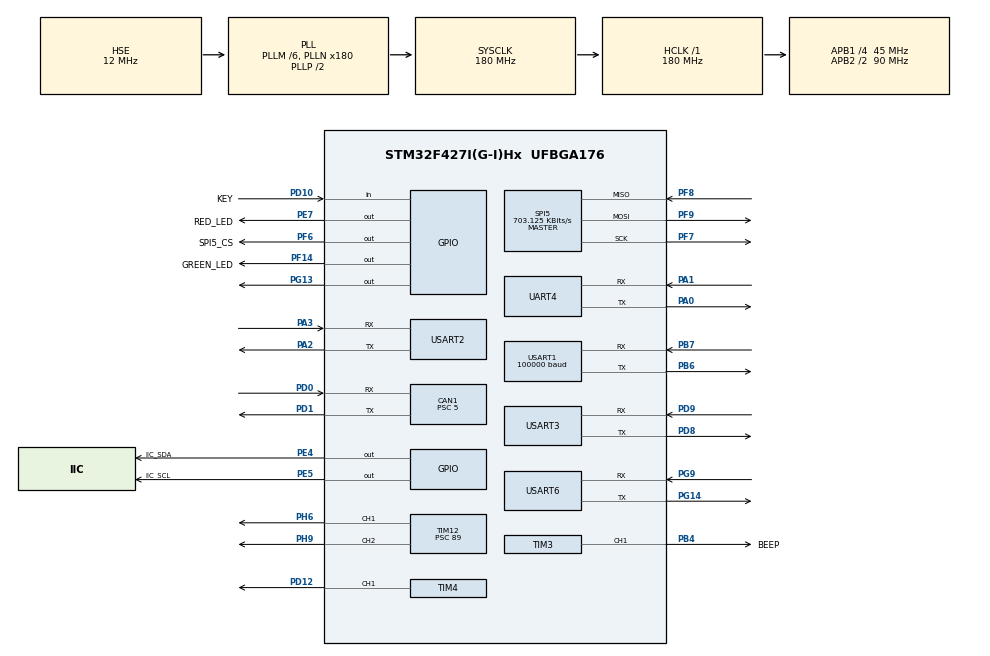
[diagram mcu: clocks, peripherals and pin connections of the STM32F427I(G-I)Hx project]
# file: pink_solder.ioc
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CAN1.ABOM=ENABLE
CAN1.BS1=CAN_BS1_3TQ
CAN1.BS2=CAN_BS2_5TQ
CAN1.CalculateTimeBit=1000
CAN1.CalculateTimeQuantum=111.11111111111111
CAN1.Prescaler=5
CAN1.RFLM=DISABLE
CAN1.TTCM=DISABLE
CAN1.TXFP=ENABLE
Dma.Request0=USART1_RX
Dma.Request1=USART3_RX
Dma.USART1_RX.0.Direction=DMA_PERIPH_TO_MEMORY
Dma.USART1_RX.0.FIFOMode=DMA_FIFOMODE_DISABLE
Dma.USART1_RX.0.Instance=DMA2_Stream2
Dma.USART1_RX.0.MemDataAlignment=DMA_MDATAALIGN_BYTE
Dma.USART1_RX.0.MemInc=DMA_MINC_ENABLE
Dma.USART1_RX.0.Mode=DMA_CIRCULAR
Dma.USART1_RX.0.PeriphDataAlignment=DMA_PDATAALIGN_BYTE
Dma.USART1_RX.0.PeriphInc=DMA_PINC_DISABLE
Dma.USART1_RX.0.Priority=DMA_PRIORITY_VERY_HIGH
Dma.USART3_RX.1.Direction=DMA_PERIPH_TO_MEMORY
Dma.USART3_RX.1.FIFOMode=DMA_FIFOMODE_DISABLE
Dma.USART3_RX.1.Instance=DMA1_Stream1
Dma.USART3_RX.1.MemDataAlignment=DMA_MDATAALIGN_BYTE
Dma.USART3_RX.1.MemInc=DMA_MINC_ENABLE
Dma.USART3_RX.1.Mode=DMA_CIRCULAR
Dma.USART3_RX.1.PeriphDataAlignment=DMA_PDATAALIGN_BYTE
Dma.USART3_RX.1.PeriphInc=DMA_PINC_DISABLE
Dma.USART3_RX.1.Priority=DMA_PRIORITY_HIGH
Mcu.Family=STM32F4
Mcu.Name=STM32F427I(G-I)Hx
Mcu.Package=UFBGA176
NVIC.CAN1_RX0_IRQn=true\:1\:0\:true\:false\:true\:true
NVIC.DMA1_Stream1_IRQn=true\:0\:0\:false\:false\:true\:false
NVIC.DMA2_Stream2_IRQn=true\:0\:0\:false\:false\:true\:false
NVIC.PriorityGroup=NVIC_PRIORITYGROUP_4
NVIC.TIM6_DAC_IRQn=true\:3\:0\:true\:false\:true\:true
NVIC.UART4_IRQn=true\:2\:0\:true\:false\:true\:true
NVIC.USART2_IRQn=true\:3\:0\:true\:false\:true\:true
NVIC.USART3_IRQn=true\:4\:0\:true\:false\:true\:true
NVIC.USART6_IRQn=true\:4\:0\:true\:true\:true\:1\:true
PA0/WKUP.Mode=Asynchronous
PA0/WKUP.Signal=UART4_TX
PA1.Mode=Asynchronous
PA1.Signal=UART4_RX
PA2.GPIO_PuPd=GPIO_PULLDOWN
PA2.Mode=Multiprocessor_communication
PA2.Signal=USART2_TX
PA3.GPIO_PuPd=GPIO_NOPULL
PA3.Mode=Multiprocessor_communication
PA3.Signal=USART2_RX
PB4.GPIO_Label=BEEP
PB4.GPIO_PuPd=GPIO_PULLUP
PB4.GPIO_Speed=GPIO_SPEED_FREQ_VERY_HIGH
PB4.Signal=S_TIM3_CH1
PB6.Mode=Multiprocessor_communication
PB6.Signal=USART1_TX
PB7.Mode=Multiprocessor_communication
PB7.Signal=USART1_RX
PD0.Mode=Master
PD0.Signal=CAN1_RX
PD1.Mode=Master
PD1.Signal=CAN1_TX
PD10.GPIO_Label=KEY
PD10.GPIO_PuPd=GPIO_PULLUP
PD10.Signal=GPIO_Input
PD12.Signal=S_TIM4_CH1
PD8.Mode=Asynchronous
PD8.Signal=USART3_TX
PD9.Mode=Asynchronous
PD9.Signal=USART3_RX
PE4.GPIO_Label=IIC_SDA
PE4.GPIO_ModeDefaultOutputPP=GPIO_MODE_OUTPUT_PP
PE4.GPIO_PuPd=GPIO_PULLUP
PE4.GPIO_Speed=GPIO_SPEED_FREQ_VERY_HIGH
PE4.PinState=GPIO_PIN_SET
PE4.Signal=GPIO_Output
PE5.GPIO_Label=IIC_SCL
PE5.GPIO_PuPd=GPIO_PULLUP
PE5.GPIO_Speed=GPIO_SPEED_FREQ_VERY_HIGH
PE5.PinState=GPIO_PIN_SET
PE5.Signal=GPIO_Output
PE7.GPIO_Label=RED_LED
PE7.GPIO_PuPd=GPIO_PULLUP
PE7.PinState=GPIO_PIN_SET
PE7.Signal=GPIO_Output
PF14.GPIO_Label=GREEN_LED
PF14.GPIO_PuPd=GPIO_PULLUP
PF14.PinState=GPIO_PIN_SET
PF14.Signal=GPIO_Output
PF6.GPIO_Label=SPI5_CS
PF6.GPIO_ModeDefaultOutputPP=GPIO_MODE_OUTPUT_PP
PF6.PinState=GPIO_PIN_RESET
PF6.Signal=GPIO_Output
PF7.Mode=Full_Duplex_Master
PF7.Signal=SPI5_SCK
PF8.Mode=Full_Duplex_Master
PF8.Signal=SPI5_MISO
PF9.Mode=Full_Duplex_Master
PF9.Signal=SPI5_MOSI
PG13.GPIO_PuPd=GPIO_NOPULL
PG13.Signal=GPIO_Output
PG14.Mode=Multiprocessor_communication
PG14.Signal=USART6_TX
PG9.Mode=Multiprocessor_communication
PG9.Signal=USART6_RX
PH0/OSC_IN.Mode=HSE-External-Oscillator
PH0/OSC_IN.Signal=RCC_OSC_IN
PH1/OSC_OUT.Mode=HSE-External-Oscillator
PH1/OSC_OUT.Signal=RCC_OSC_OUT
PH6.Signal=S_TIM12_CH1
PH9.Signal=S_TIM12_CH2
ProjectManager.HeapSize=0x200
ProjectManager.StackSize=0x400
ProjectManager.TargetToolchain=MDK-ARM V5
RCC.48MHZClocksFreq_Value=90000000
RCC.AHBFreq_Value=180000000
RCC.APB1CLKDivider=RCC_HCLK_DIV4
RCC.APB1Freq_Value=45000000
RCC.APB1TimFreq_Value=90000000
RCC.APB2CLKDivider=RCC_HCLK_DIV2
RCC.APB2Freq_Value=90000000
RCC.APB2TimFreq_Value=180000000
RCC.CortexFreq_Value=180000000
RCC.HCLKFreq_Value=180000000
RCC.HSE_VALUE=12000000
RCC.HSI_VALUE=16000000
RCC.LSE_VALUE=32768
RCC.PLLM=6
RCC.PLLN=180
RCC.PLLSourceVirtual=RCC_PLLSOURCE_HSE
RCC.SYSCLKFreq_VALUE=180000000
RCC.SYSCLKSource=RCC_SYSCLKSOURCE_PLLCLK
RCC.VCOOutputFreq_Value=360000000
SH.S_TIM12_CH1.0=TIM12_CH1,PWM Generation1 CH1
SH.S_TIM12_CH2.0=TIM12_CH2,PWM Generation2 CH2
SH.S_TIM3_CH1.0=TIM3_CH1,PWM Generation1 CH1
SH.S_TIM4_CH1.0=TIM4_CH1,PWM Generation1 CH1
SPI5.BaudRatePrescaler=SPI_BAUDRATEPRESCALER_128
SPI5.CalculateBaudRate=703.125 KBits/s
SPI5.Direction=SPI_DIRECTION_2LINES
SPI5.Mode=SPI_MODE_MASTER
SPI5.VirtualType=VM_MASTER
TIM12.Channel-PWM\ Generation1\ CH1=TIM_CHANNEL_1
TIM12.Channel-PWM\ Generation2\ CH2=TIM_CHANNEL_2
TIM12.Period=2500-1
TIM12.Prescaler=89
TIM12.Pulse-PWM\ Generation1\ CH1=1000
TIM12.Pulse-PWM\ Generation2\ CH2=1000
TIM3.Channel-PWM\ Generation1\ CH1=TIM_CHANNEL_1
TIM3.Period=1000
TIM3.Prescaler=179
TIM3.Pulse-PWM\ Generation1\ CH1=500
TIM4.Channel-PWM\ Generation1\ CH1=TIM_CHANNEL_1
TIM4.Period=2000-1
TIM4.Prescaler=89
TIM4.Pulse-PWM\ Generation1\ CH1=500
TIM6.Period=999
TIM6.Prescaler=89
UART4.VirtualMode=Asynchronous
USART1.BaudRate=100000
USART1.VirtualMode=VM_ASYNC
USART2.VirtualMode=VM_ASYNC
USART3.VirtualMode=VM_ASYNC
USART6.VirtualMode=VM_ASYNC
VP_TIM12_VS_ClockSourceINT.Mode=Internal
VP_TIM3_VS_ClockSourceINT.Mode=Internal
VP_TIM4_VS_ClockSourceINT.Mode=Internal
VP_TIM6_VS_ClockSourceINT.Mode=Enable_Timer
board=custom

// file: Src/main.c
/**
  ******************************************************************************
  * @file           : main.c
  * @brief          : Main program body
  ******************************************************************************
  ** This notice applies to any and all portions of this file
  * that are not between comment pairs USER CODE BEGIN and
  * USER CODE END. Other portions of this file, whether
  * inserted by the user or by software development tools
  * are owned by their respective copyright owners.
  *
  * COPYRIGHT(c) 2018 STMicroelectronics
  *
  * Redistribution and use in source and binary forms, with or without modification,
  * are permitted provided that the following conditions are met:
  *   1. Redistributions of source code must retain the above copyright notice,
  *      this list of conditions and the following disclaimer.
  *   2. Redistributions in binary form must reproduce the above copyright notice,
  *      this list of conditions and the following disclaimer in the documentation
  *      and/or other materials provided with the distribution.
  *   3. Neither the name of STMicroelectronics nor the names of its contributors
  *      may be used to endorse or promote products derived from this software
  *      without specific prior written permission.
  *
  * THIS SOFTWARE IS PROVIDED BY THE COPYRIGHT HOLDERS AND CONTRIBUTORS "AS IS"
  * AND ANY EXPRESS OR IMPLIED WARRANTIES, INCLUDING, BUT NOT LIMITED TO, THE
  * IMPLIED WARRANTIES OF MERCHANTABILITY AND FITNESS FOR A PARTICULAR PURPOSE ARE
  * DISCLAIMED. IN NO EVENT SHALL THE COPYRIGHT HOLDER OR CONTRIBUTORS BE LIABLE
  * FOR ANY DIRECT, INDIRECT, INCIDENTAL, SPECIAL, EXEMPLARY, OR CONSEQUENTIAL
  * DAMAGES (INCLUDING, BUT NOT LIMITED TO, PROCUREMENT OF SUBSTITUTE GOODS OR
  * SERVICES; LOSS OF USE, DATA, OR PROFITS; OR BUSINESS INTERRUPTION) HOWEVER
  * CAUSED AND ON ANY THEORY OF LIABILITY, WHETHER IN CONTRACT, STRICT LIABILITY,
  * OR TORT (INCLUDING NEGLIGENCE OR OTHERWISE) ARISING IN ANY WAY OUT OF THE USE
  * OF THIS SOFTWARE, EVEN IF ADVISED OF THE POSSIBILITY OF SUCH DAMAGE.
  *
  ******************************************************************************
  */
#include "main.h"
#include "stm32f4xx_hal.h"
#include "can.h"
#include "dma.h"
#include "spi.h"
#include "tim.h"
#include "usart.h"
#include "gpio.h"

/* USER CODE BEGIN Includes */
#include "control.h"
#include "math.h"
#include "delay.h"
/* USER CODE END Includes */

/* USER CODE BEGIN PV */
/* Private variables ---------------------------------------------------------*/

u8 i;
float a;
float output[6];

/* USER CODE END PV */

void SystemClock_Config(void);
static void MX_NVIC_Init(void);

/* USER CODE BEGIN PFP */
/* Private function prototypes -----------------------------------------------*/

/* USER CODE END PFP */

int main(void)
{

  /* MCU Configuration----------------------------------------------------------*/

  /* Reset of all peripherals, Initializes the Flash interface and the Systick. */
  HAL_Init();

  /* Configure the system clock */
  SystemClock_Config();

  /* USER CODE BEGIN SysInit */
	delay_init(180);
  /* USER CODE END SysInit */

  /* Initialize all configured peripherals */
  MX_GPIO_Init();
  MX_DMA_Init();
  MX_CAN1_Init();
  MX_TIM4_Init();
  MX_TIM6_Init();
  MX_TIM12_Init();
  MX_UART4_Init();
  MX_USART1_UART_Init();
  MX_USART6_UART_Init();
  MX_USART2_UART_Init();
  MX_TIM3_Init();
  MX_USART3_UART_Init();
  MX_SPI5_Init();

  /* Initialize interrupts */
  MX_NVIC_Init();
  /* USER CODE BEGIN 2 */
	MPU6050_Init();																//陀螺仪初始化
	MPU6050_GyroOffest();														//陀螺仪校准
	delay_ms(10);
	MPU6500_Init();
	IMU_Init();
	HAL_UART_Receive_DMA(&huart3,mpu6050.RxBuf,sizeof(mpu6050.RxBuf));			//MPU初始化完成后立刻开启DMA接收防止接收不完整数据
	HAL_UART_Receive_DMA(&huart1,teledata_rx,sizeof(teledata_rx));				//遥控器接收数据通过DMA中断存入teledata
	HAL_UART_Receive_IT(&huart4, &rxPID.pidReadBuf, 1);							//pid调节参数接收中断
//	HAL_UART_Receive_IT(&huart2, camera.Recieve,sizeof(camera.Recieve));		//开启视觉数据接收中断
//	HAL_UART_Receive_IT(&huart6, judge.Recieve,sizeof(judge.Recieve));			//开启裁判系统接收中断

	CAN1_FilterInit();
	HAL_TIM_Base_Start_IT(&htim6);
	MOTO_PIDInit();
	GREEN_LED = 0;

	//选择上位机PID调参对象
	rxPID.pidAdjust = &(cloudPitch.AnglePID);
  /* USER CODE END 2 */

  /* Infinite loop */
  while (1)
  {

  /* USER CODE BEGIN 3 */
		a += 0.1f;
		if(a > 3.14f)	a = -3.14f;
//		output[0] =mpu6050.Acc.Origin.x; //500 * sinf(a);
//		output[0] = angleKal;
//		output[2] = atan2(mpu6050.Acc.Origin.x,sensor.Acc.Origin.z)*180/3.1415926f;
//		output[0] = underpan[2].Speed;
//		output[1] = underpan[2].Angle;//4000 * sinf(a+1);
//		output[2] = underpan[0].CurrentOutput;
//		output[3] = underpan[0].Current ;
//		output[0] = mpu6050.Auto.GyroX;
//		output[1] = mpu6050.Auto.GyroY;//4000 * sinf(a+1);
//		output[2] = mpu6050.Auto.GyroZ;
//		output[0] = mpu6500.PitchK.Angle;
//		output[1] = mpu6500.RollK.Angle;//4000 * sinf(a+1);
//		output[2] = atan2(mpu6500.AccX,mpu6500.AccZ)*180/PI;
//		output[3] = mpu6500.GyroY;
		output[1] = cloudPitch.CurrentOutput;
		output[2] = cloudPitch.Angle;
		output[0] = mpu6050.Gyro.Origin.y;
		output[3] = cloudPitch.SetSpeed;
//		output[5] = cloudPitch.AnglePID.i*100;
		UART_SendDataToPC(output, sizeof(output));
//		MPU6050_GetData();
//		printf("%d    \r\n",mpu6050.Gyro.Origin.x);
		HAL_Delay(100);
//		delay_us(100000);
		//delay_ms(100);
		GREEN_LED = ~GREEN_LED;
//		prinf("%d   \r\n",cloudPitch.Angle);
  }
  /* USER CODE END 3 */

}

void SystemClock_Config(void)
{

  RCC_OscInitTypeDef RCC_OscInitStruct;
  RCC_ClkInitTypeDef RCC_ClkInitStruct;

    /**Configure the main internal regulator output voltage
    */
  __HAL_RCC_PWR_CLK_ENABLE();

  __HAL_PWR_VOLTAGESCALING_CONFIG(PWR_REGULATOR_VOLTAGE_SCALE1);

    /**Initializes the CPU, AHB and APB busses clocks
    */
  RCC_OscInitStruct.OscillatorType = RCC_OSCILLATORTYPE_HSE;
  RCC_OscInitStruct.HSEState = RCC_HSE_ON;
  RCC_OscInitStruct.PLL.PLLState = RCC_PLL_ON;
  RCC_OscInitStruct.PLL.PLLSource = RCC_PLLSOURCE_HSE;
  RCC_OscInitStruct.PLL.PLLM = 6;
  RCC_OscInitStruct.PLL.PLLN = 180;
  RCC_OscInitStruct.PLL.PLLP = RCC_PLLP_DIV2;
  RCC_OscInitStruct.PLL.PLLQ = 4;
  if (HAL_RCC_OscConfig(&RCC_OscInitStruct) != HAL_OK)
  {
    _Error_Handler(__FILE__, __LINE__);
  }

    /**Activate the Over-Drive mode
    */
  if (HAL_PWREx_EnableOverDrive() != HAL_OK)
  {
    _Error_Handler(__FILE__, __LINE__);
  }

    /**Initializes the CPU, AHB and APB busses clocks
    */
  RCC_ClkInitStruct.ClockType = RCC_CLOCKTYPE_HCLK|RCC_CLOCKTYPE_SYSCLK
                              |RCC_CLOCKTYPE_PCLK1|RCC_CLOCKTYPE_PCLK2;
  RCC_ClkInitStruct.SYSCLKSource = RCC_SYSCLKSOURCE_PLLCLK;
  RCC_ClkInitStruct.AHBCLKDivider = RCC_SYSCLK_DIV1;
  RCC_ClkInitStruct.APB1CLKDivider = RCC_HCLK_DIV4;
  RCC_ClkInitStruct.APB2CLKDivider = RCC_HCLK_DIV2;

  if (HAL_RCC_ClockConfig(&RCC_ClkInitStruct, FLASH_LATENCY_5) != HAL_OK)
  {
    _Error_Handler(__FILE__, __LINE__);
  }

    /**Configure the Systick interrupt time
    */
  HAL_SYSTICK_Config(HAL_RCC_GetHCLKFreq()/1000);

    /**Configure the Systick
    */
  HAL_SYSTICK_CLKSourceConfig(SYSTICK_CLKSOURCE_HCLK);

  /* SysTick_IRQn interrupt configuration */
  HAL_NVIC_SetPriority(SysTick_IRQn, 0, 0);
}

/**
  * @brief NVIC Configuration.
  * @retval None
  */
static void MX_NVIC_Init(void)
{
  /* USART6_IRQn interrupt configuration */
  HAL_NVIC_SetPriority(USART6_IRQn, 4, 0);
  HAL_NVIC_EnableIRQ(USART6_IRQn);
}

void _Error_Handler(char *file, int line)
{
  while(1)
  {
  }
}

/************************ (C) COPYRIGHT STMicroelectronics *****END OF FILE****/
